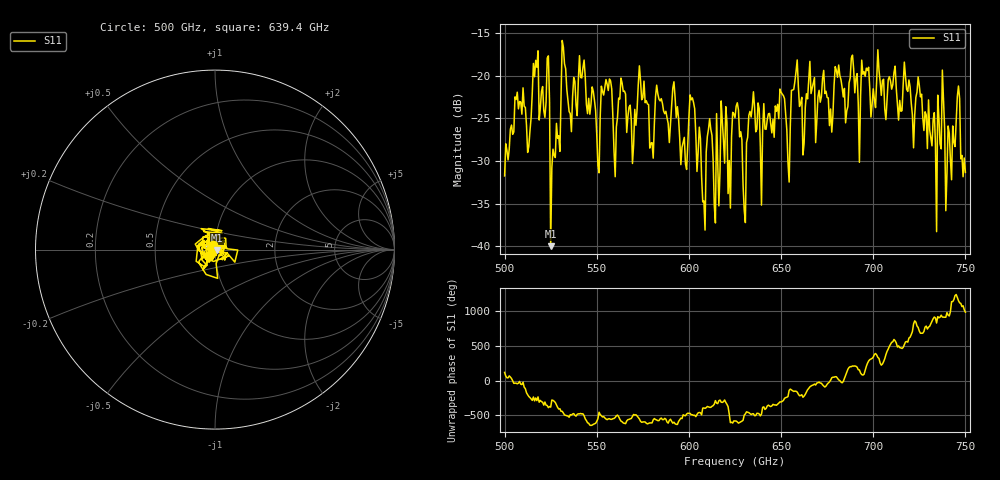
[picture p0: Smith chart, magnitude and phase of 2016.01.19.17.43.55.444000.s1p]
!Created with skrf (http://scikit-rf.org).
# GHz S RI R 50.0
!freq ReS11 ImS11
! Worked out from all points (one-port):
!   401 points, 500 GHz to 750 GHz, reference 50 ohm
!   lowest |S11| = -40.0 dB at 525 GHz (marker M1), VSWR 1.02, Z = 50.9 - j0.423 ohm
!   |S11| at or under -10 dB: start of sweep to end of sweep
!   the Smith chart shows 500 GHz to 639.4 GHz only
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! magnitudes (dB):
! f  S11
! 500 GHz  -31.7
! 506.9 GHz  -21.9
! 513.1 GHz  -28.3
! 516.9 GHz  -18.2
! 525 GHz  -40.0
! 526.2 GHz  -28.6
! 531.2 GHz  -15.9
! 541.9 GHz  -20.3
! 550.6 GHz  -30.5
! 553.8 GHz  -22.3
! 562.5 GHz  -22.7
! 593.8 GHz  -23.6
! 598.1 GHz  -30.3
! 601.9 GHz  -22.6
! 608.1 GHz  -34.7
! 611.2 GHz  -25.0
! 615 GHz  -24.4
! 625 GHz  -24.9
! 630 GHz  -35.7
! 633.8 GHz  -24.8
! 650.6 GHz  -22.1
! 653.8 GHz  -30.2
! 656.2 GHz  -21.7
! 687.5 GHz  -20.3
! 718.8 GHz  -21.8
! 740.6 GHz  -25.9
! 745.6 GHz  -22.4
! 750 GHz  -31.3
